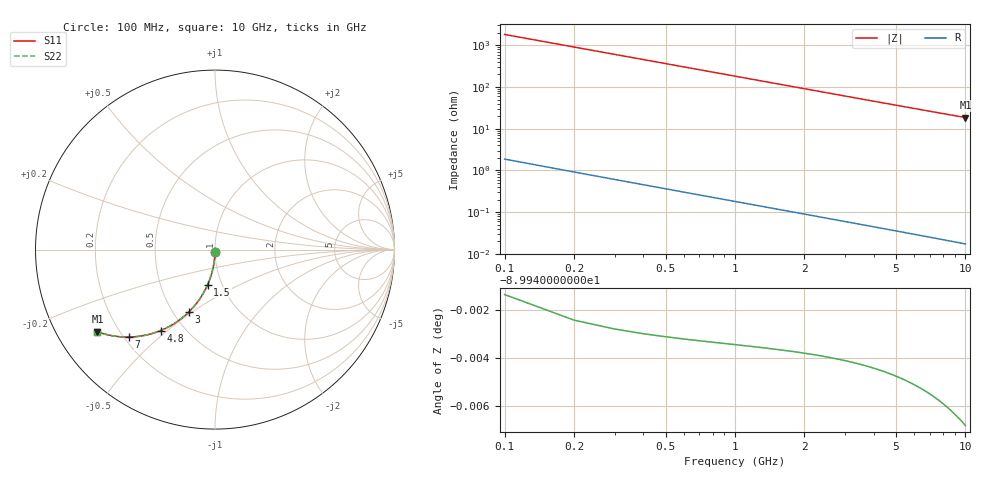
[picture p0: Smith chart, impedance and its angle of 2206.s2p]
# Hz S RI R 50.00
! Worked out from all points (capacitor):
!   100 points, 100 MHz to 10 GHz, reference 50 ohm
!   read as one part in shunt: C = 873 fF near 100 MHz
!   lowest |Z| = 18.6 ohm at 10 GHz (marker M1)
!   S11 on the Smith chart (normalised r, x): 100 MHz: 1.00, -0.03; 1.5 GHz: 0.86, -0.35; 3 GHz: 0.60, -0.48; 4.8 GHz: 0.37, -0.47; 7 GHz: 0.22, -0.40; 10 GHz: 0.12, -0.31
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1e8  -0.000159 -0.0135  0.9998 -0.0139  0.9998 -0.0139  -0.000159 -0.0135
2e8  -0.000735 -0.0271  0.9992 -0.0277  0.9992 -0.0277  -0.000735 -0.0271
3e8  -0.00169 -0.0406  0.9982 -0.0415  0.9982 -0.0415  -0.00169 -0.0406
4e8  -0.00301 -0.054  0.9969 -0.0553  0.9969 -0.0553  -0.00301 -0.054
5e8  -0.0047 -0.0674  0.9952 -0.069  0.9952 -0.069  -0.0047 -0.0674
6e8  -0.00675 -0.0807  0.9932 -0.0827  0.9932 -0.0827  -0.00675 -0.0807
7e8  -0.00917 -0.0939  0.9907 -0.0962  0.9907 -0.0962  -0.00917 -0.0939
9e8  -0.0151 -0.12  0.9848 -0.123  0.9848 -0.123  -0.0151 -0.12
1.2e9  -0.0264 -0.1581  0.9735 -0.1621  0.9735 -0.1621  -0.0264 -0.1581
1.5e9  -0.0407 -0.1947  0.9592 -0.1997  0.9592 -0.1997  -0.0407 -0.1947
1.8e9  -0.0576 -0.2295  0.9423 -0.2355  0.9423 -0.2355  -0.0576 -0.2295
2.4e9  -0.0979 -0.2927  0.902 -0.3008  0.902 -0.3008  -0.0979 -0.2927
3e9  -0.1449 -0.3466  0.8549 -0.3566  0.8549 -0.3566  -0.1449 -0.3466
3.4e9  -0.1788 -0.377  0.821 -0.3884  0.821 -0.3884  -0.1788 -0.377
4.1e9  -0.2405 -0.4201  0.7593 -0.4338  0.7593 -0.4338  -0.2405 -0.4201
4.8e9  -0.3027 -0.4509  0.6971 -0.4671  0.6971 -0.4671  -0.3027 -0.4509
5.1e9  -0.329 -0.4608  0.6708 -0.478  0.6708 -0.478  -0.329 -0.4608
5.9e9  -0.3963 -0.4787  0.6034 -0.4986  0.6034 -0.4986  -0.3963 -0.4787
6.7e9  -0.4587 -0.4864  0.541 -0.5092  0.541 -0.5092  -0.4587 -0.4864
7e9  -0.4806 -0.4872  0.519 -0.511  0.519 -0.511  -0.4806 -0.4872
8.4e9  -0.5717 -0.4799  0.4277 -0.5086  0.4277 -0.5086  -0.5717 -0.4799
1e10  -0.6549 -0.4576  0.3444 -0.492  0.3444 -0.492  -0.6549 -0.4576
